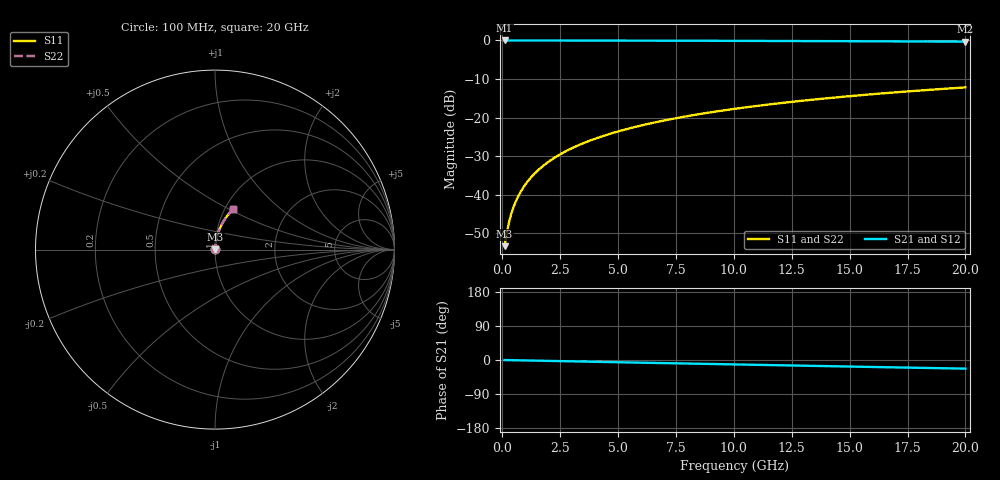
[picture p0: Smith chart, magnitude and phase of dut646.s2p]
! Touchstone file exported from HFSS 2026.1.0
!  File:  C:/ffzhzh/LocalFiles/Ansys_Project_Files/temp_train_TMRDL_646_1783009460_46388.aedt
!  Generated:  12:25:45 AM Jul  3, 2026
!  Design:  TMRDL
!  Project:  temp_train_TMRDL_646_1783009460_46388
! Variables:
!  h_bsmrdl = 2um
!  h_ox = 20um
!  h_rdl = 5um
!  h_sub = 80um
!  h_tmrdl = 3.54um
!  h_tsv = 80um
!  h_via = 3um
!  l_bsmrdl = 300um
!  l_sub = 680.96um
!  l_tmrdl = 280.96um
!  m_sub = 200um
!  pitch = 50.06um
!  r_tsv = 6um
!  s_tmrdl = 10um
!  w_bsmrdl = 18um
!  w_sub = 500um
!  w_tmrdl = 19.86um
!  x_tsv_center1 = 290.89um
!  x_tsv_center2 = 608.89um
!  x_tsv_center3 = 909.71um
!  x_tsv_center4 = 1227.71um
!  x_tsv_center5 = 1528.53um
!  x_tsv_center6 = 1846.53um
# GHz S MA R 50.000000
! Terminal data exported
! Port[1] = TM_RDL1_1_T1
! Port[2] = TM_RDL1_1_T2
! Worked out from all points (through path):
!   200 points, 100 MHz to 20 GHz, reference 50 ohm
!   highest |S21| = -0.01 dB at 100 MHz (marker M1); lowest = -0.3 dB at 20 GHz (marker M2)
!   group delay of S21, straight-line fit = 3.17 ps
!   lowest |S11| = -53.3 dB at 100 MHz (marker M3), VSWR 1.00, Z = 50.2 + j0.143 ohm
!   |S11| at or under -10 dB: start of sweep to end of sweep
!   |S22| runs from -53.3 to -12.2 dB; largest |S21 - S12| = 5.1e-15
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0.1  0.002158 41.4  0.9984 -0.1  0.9984 -0.1  0.002158 41.4
! Gamma 0 0 0 0
! Port Impedance 50 0 50 0
0.2  0.00329 59.2  0.9983 -0.2  0.9983 -0.2  0.00329 59.2
0.3  0.004547 67.2  0.9983 -0.4  0.9983 -0.4  0.004547 67.2
0.4  0.005831 71.6  0.9982 -0.5  0.9982 -0.5  0.005831 71.6
0.5  0.007122 74.4  0.9981 -0.6  0.9981 -0.6  0.007122 74.4
0.6  0.008417 76.3  0.9981 -0.7  0.9981 -0.7  0.008417 76.3
0.8  0.01102 78.9  0.998 -1.0  0.998 -1.0  0.01102 78.9
1.1  0.01495 81.0  0.9979 -1.3  0.9979 -1.3  0.01495 81.0
1.5  0.02022 82.3  0.9977 -1.8  0.9977 -1.8  0.02022 82.3
1.8  0.02419 82.8  0.9976 -2.1  0.9976 -2.1  0.02419 82.8
2.1  0.02815 83.1  0.9974 -2.5  0.9974 -2.5  0.02815 83.1
2.7  0.03607 83.1  0.9971 -3.2  0.9971 -3.2  0.03607 83.1
3.5  0.0466 82.8  0.9964 -4.2  0.9964 -4.2  0.0466 82.8
4.2  0.05576 82.3  0.9958 -5.0  0.9958 -5.0  0.05576 82.3
5  0.06616 81.5  0.9949 -5.9  0.9949 -5.9  0.06616 81.5
5.9  0.07778 80.7  0.9938 -7.0  0.9938 -7.0  0.07778 80.7
6.8  0.08929 79.8  0.9925 -8.0  0.9925 -8.0  0.08929 79.7
8.3  0.1083 78.2  0.9902 -9.7  0.9902 -9.7  0.1083 78.2
10.1  0.1307 76.3  0.987 -11.8  0.987 -11.8  0.1307 76.2
13.4  0.1706 72.7  0.9801 -15.5  0.9801 -15.5  0.1706 72.7
16.7  0.2092 69.2  0.9721 -19.2  0.9721 -19.2  0.2092 69.2
20  0.2461 65.7  0.9629 -22.8  0.9629 -22.8  0.2461 65.7
